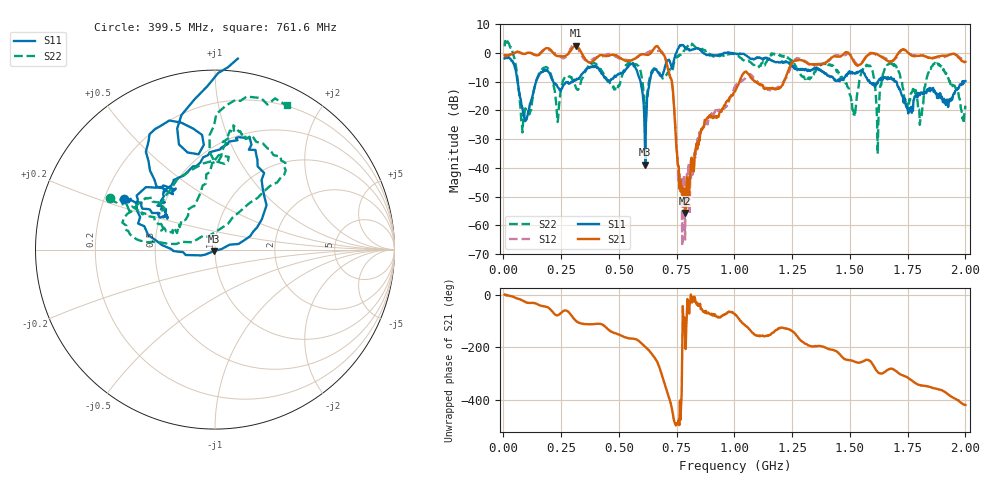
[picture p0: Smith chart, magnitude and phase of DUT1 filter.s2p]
! PocketVna 1.60  pocketvna.com
! Live measurements ((Reflection-S11, Transmission-S21, Transmission-S12, Reflection-S22) Linear 5000000-2000000000/800 calibrated)
# Hz S RI R 50
! Hz  ReS11  ImS11  ReS21  ImS21  ReS12  ImS12  ReS22  ImS22
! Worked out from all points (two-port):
!   800 points, 5 MHz to 2 GHz, reference 50 ohm
!   highest |S21| = 2.52 dB at 314.6 MHz (marker M1); lowest = -55.7 dB at 786.5 MHz (marker M2)
!   |S21| within 3 dB of the highest: 31.46 MHz to 131.9 MHz (100.4 MHz wide, 123 % of centre); 156.2 MHz to 220.6 MHz (64.4 MHz wide, 34.2 % of centre) (the widest 2 of 9)
!   lowest |S11| = -38.9 dB at 614.2 MHz (marker M3), VSWR 1.02, Z = 49.3 - j0.852 ohm
!   |S11| at or under -10 dB: 61.05 MHz to 141 MHz (79.96 MHz wide, 79.1 % of centre); 215.6 MHz to 294.3 MHz (78.67 MHz wide, 30.9 % of centre); 1.701 GHz to 1.987 GHz (285.8 MHz wide, 15.5 % of centre) (the widest 3 of 9)
!   |S22| runs from -35.1 to 4.4 dB; largest |S21 - S12| = 0.28
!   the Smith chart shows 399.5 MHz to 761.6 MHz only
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5000000  0.8041 -0.0133  0.9146 0.0418  0.8866 -0.0217  1.286 -0.2175
3.496245e7  0.1969 -0.6955  0.9467 -0.0611  0.9622 -0.0554  0.3535 -1.092
8.489987e7  -0.0673 -0.0637  0.8995 -0.3543  0.8971 -0.3564  0.0599 0.0151
1.672966e8  -0.4657 -0.0549  0.7874 -0.6875  0.8274 -0.6903  -0.5232 0.0107
3.14612e8  -0.182 -0.291  -0.2009 -1.321  -0.0694 -1.35  -0.0271 -0.242
3.395807e8  -0.4175 -0.1061  -0.3131 -0.9202  -0.2954 -0.8321  -0.349 -0.0451
5.618023e8  0.2029 0.5843  -0.7449 -0.1828  -0.7212 -0.2087  0.2294 0.6005
6.142365e8  -0.00742 -0.00864  -0.8929 0.282  -0.9046 0.337  -0.0416 0.0718
6.716646e8  -0.2883 0.3577  -0.0583 1.236  0.1387 1.081  -0.3804 0.2844
6.941364e8  -0.3258 0.3515  0.7962 0.4715  0.7523 0.5395  -0.2923 0.23
7.191051e8  -0.1886 0.7076  0.3174 -0.2515  0.3709 -0.2075  -0.00313 0.4967
7.865206e8  0.4514 1.173  -0.00158 -0.000398  -0.000562 -1.64e-05  0.9012 0.7424
1.003748e9  0.9113 -0.3299  0.0535 -0.2113  0.0589 -0.2562  0.9118 -0.2347
1.166045e9  0.4383 -0.5685  -0.194 -0.1475  -0.1975 -0.1128  0.3234 -0.9054
1.335832e9  -0.0865 -0.5068  -0.6059 0.169  -0.5913 0.1548  -0.1207 -0.3508
1.518104e9  -0.3322 -0.2905  -0.1971 0.6635  -0.2365 0.6962  -0.0667 -0.0711
1.588016e9  -0.0937 0.2925  -0.2999 0.929  -0.2816 0.9626  -0.4831 0.3395
1.620476e9  0.2941 0.0364  0.3799 0.8583  0.3278 0.836  -0.0137 -0.0109
1.667916e9  0.2179 -0.2813  0.1675 0.6946  0.215 0.7206  0.269 -0.5817
1.775282e9  0.0893 -0.1215  0.7741 0.421  0.7867 0.4218  0.0665 0.2262
1.870163e9  -0.0766 -0.1827  0.8395 0.0355  0.8304 0.0198  -0.1372 -0.6288
2e9  -0.2531 -0.204  0.3489 -0.611  0.3294 -0.6999  -0.0938 -0.0757
